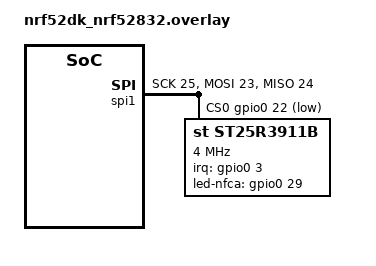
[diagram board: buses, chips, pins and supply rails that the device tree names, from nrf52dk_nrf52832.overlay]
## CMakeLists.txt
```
#
# Copyright (c) 2019 Nordic Semiconductor ASA
#
# SPDX-License-Identifier: LicenseRef-BSD-5-Clause-Nordic
#
cmake_minimum_required(VERSION 3.13.1)

find_package(Zephyr REQUIRED HINTS $ENV{ZEPHYR_BASE})
project(NONE)

target_sources(app PRIVATE
	src/main.c
	src/gw_prov_conf.c
	src/gw_nfc.c
	src/gw_display_shield.c
	src/gw_display_mcp23017.c)
target_include_directories(app PRIVATE include)
```

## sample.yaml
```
sample:
  name: Bluetooth Mesh Gateway
  description: Bluetooth Mesh Gateway
tests:
  samples.bluetooth.mesh.gateway:
    build_only: true
    build_on_all: true
    platform_whitelist: nrf52dk_nrf52832
    tags: bluetooth ci_build
```

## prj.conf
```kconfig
#
# Copyright (c) 2020 Nordic Semiconductor ASA
#
# SPDX-License-Identifier: LicenseRef-BSD-5-Clause-Nordic
#

# General configuration
CONFIG_MAIN_STACK_SIZE=4096
CONFIG_SYSTEM_WORKQUEUE_STACK_SIZE=2048
CONFIG_LOG_PROCESS_THREAD_STACK_SIZE=4096
CONFIG_LOG_BUFFER_SIZE=4096
CONFIG_HEAP_MEM_POOL_SIZE=256

CONFIG_POLL=y
CONFIG_ASSERT=y
CONFIG_ASSERT_LEVEL=2

CONFIG_FLASH=y
CONFIG_FLASH_MAP=y
CONFIG_NVS=y
CONFIG_SETTINGS=y
CONFIG_HWINFO=y
CONFIG_LOG=y
CONFIG_LOG_PRINTK=y
CONFIG_LOG_BACKEND_SHOW_COLOR=n

CONFIG_DK_LIBRARY=y
#CONFIG_BT_MESH_DK_PROV=y

# Display
CONFIG_I2C=y
CONFIG_I2C_0=y

# NFC
CONFIG_SPI=y
CONFIG_ST25R3911B_LIB=y
CONFIG_NFC_NDEF=y
CONFIG_NFC_NDEF_RECORD=y
CONFIG_NFC_NDEF_MSG=y
CONFIG_NFC_NDEF_PARSER=y
CONFIG_NFC_NDEF_LE_OOB_REC_PARSER=y
CONFIG_NFC_T2T_PARSER=y
CONFIG_NFC_T4T_HL_PROCEDURE=y
CONFIG_NFC_NDEF_CH_PARSER=y

# Bluetooth configuration
CONFIG_BT=y
CONFIG_BT_TINYCRYPT_ECC=y
#CONFIG_BT_DEBUG_LOG=y
CONFIG_BT_OBSERVER=y
CONFIG_BT_BROADCASTER=y

# Bluetooth Mesh configuration
CONFIG_BT_MESH=y
CONFIG_BT_MESH_SUBNET_COUNT=1
CONFIG_BT_MESH_APP_KEY_COUNT=1
CONFIG_BT_MESH_RX_SEG_MAX=15
CONFIG_BT_MESH_ADV_BUF_COUNT=10
CONFIG_BT_MESH_TX_SEG_MSG_COUNT=10
CONFIG_BT_MESH_MODEL_GROUP_COUNT=2
CONFIG_BT_MESH_LABEL_COUNT=0
CONFIG_BT_MESH_CFG_CLI=y
CONFIG_BT_MESH_HEALTH_CLI=y

CONFIG_BT_MESH_PROVISIONER=y
CONFIG_BT_MESH_CDB=y
CONFIG_BT_MESH_CDB_NODE_COUNT=3
CONFIG_BT_MESH_CDB_SUBNET_COUNT=3
CONFIG_BT_MESH_CDB_APP_KEY_COUNT=3

CONFIG_BT_SETTINGS=y
CONFIG_FLASH=y
CONFIG_FLASH_PAGE_LAYOUT=y
CONFIG_FLASH_MAP=y
CONFIG_NVS=y
CONFIG_SETTINGS=y
CONFIG_BT_MESH_RPL_STORE_TIMEOUT=600

#CONFIG_BT_MESH_DEBUG=y
#CONFIG_BT_MESH_DEBUG_SETTINGS=y
#CONFIG_BT_MESH_DEBUG_NET=y
#CONFIG_BT_MESH_DEBUG_MODEL=y
#CONFIG_BT_MESH_DEBUG_TRANS=y
#CONFIG_BT_MESH_DEBUG_ACCESS=y

#CONFIG_BT_MESH_LOW_POWER=y
#CONFIG_BT_MESH_DEBUG_PROV=y
#CONFIG_BT_MESH_DEBUG_LOW_POWER=y
#CONFIG_BT_MESH_DEBUG_BEACON=y
#CONFIG_BT_MESH_DEBUG_CRYPTO=y
#CONFIG_BT_MESH_DEBUG_ADV=y
```

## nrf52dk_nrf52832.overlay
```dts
&spi0 {
	status = "disabled";
};

&spi1 {
	compatible = "nordic,nrf-spi";
	status = "okay";
	sck-pin = <25>;
	mosi-pin = <23>;
	miso-pin = <24>;
	cs-gpios = <&gpio0 22 GPIO_ACTIVE_LOW>;

	st25r3911b@0 {
		label = "ST25R3911B";
		compatible = "st,st25r3911b";
		reg = <0>;
		spi-max-frequency = <4000000>;
		irq-gpios = <&gpio0 3 0>;
		led-nfca-gpios = <&gpio0 29 0>;
	};
};

&spi2 {
	status = "disabled";
};
```

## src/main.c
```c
/*
 * Copyright (c) 2020 Nordic Semiconductor ASA
 *
 * SPDX-License-Identifier: LicenseRef-BSD-5-Clause-Nordic
 */

#include <zephyr.h>
#include <bluetooth/bluetooth.h>
#include <bluetooth/mesh.h>
#include <settings/settings.h>
// #include <bluetooth/mesh/models.h>
// #include <bluetooth/mesh/dk_prov.h>
#include "gw_prov_conf.h"
#include "gw_nfc.h"
#include "gw_display_shield.h"

K_SEM_DEFINE(sem_gw_system_state, 0, 1);
K_SEM_DEFINE(sem_choose_room, 0, 1);

enum gw_system_states
{
	s_start = 0,
	s_idle,
	s_blink_dev,
	s_prov_conf_dev,
	s_nfc_start,
	s_nfc_stop,
};

// TODO: Unique node names
const struct room_info rooms[] = {
	[0] = { .name = "Living room    ", .group_addr = BASE_GROUP_ADDR },
	[1] = { .name = "Kitchen        ", .group_addr = BASE_GROUP_ADDR + 1 },
	[2] = { .name = "Bedroom        ", .group_addr = BASE_GROUP_ADDR + 2 },
	[3] = { .name = "Bathroom       ", .group_addr = BASE_GROUP_ADDR + 3 },
	[4] = { .name = "Hallway        ", .group_addr = BASE_GROUP_ADDR + 4 }
};

static int gw_system_state = s_start;
static bool take_sem = true;

static uint8_t curr_but_pressed;
static uint8_t nfc_uuid[16];
static bool uuid_from_nfc;
static bool update_unprov_devs;
static uint8_t chosen_dev;
static uint8_t room_iterator;
static bool room_chosen;

static struct k_delayed_work button_work;

static void button_work_handler(struct k_work *work)
{
	uint8_t button_state;

	button_state = display_read_buttons();

	if ((button_state & BUTTON_UP) && (curr_but_pressed != BUTTON_UP)) {
		printk("BUTTON UP\n");
		curr_but_pressed = BUTTON_UP;
	} else if (button_state & BUTTON_DOWN && (curr_but_pressed != BUTTON_DOWN)) {
		printk("BUTTON DOWN\n");
		curr_but_pressed = BUTTON_DOWN;
	} else if (button_state & BUTTON_LEFT && (curr_but_pressed != BUTTON_LEFT)) {
		printk("BUTTON LEFT\n");
		curr_but_pressed = BUTTON_LEFT;

		if (gw_system_state == s_start || gw_system_state == s_idle) {
			gw_system_state = s_nfc_start;
			k_sem_give(&sem_gw_system_state);
		} else if (gw_system_state == s_blink_dev) {
			if (!prov_link_active()) {
				if (chosen_dev > 0) {
					chosen_dev--;
					k_sem_give(&sem_gw_system_state);
				}
			}
		} else if (gw_system_state == s_prov_conf_dev) {
			if (room_iterator > 0) {
				room_iterator--;
				k_sem_give(&sem_choose_room);
			}
		}
	} else if (button_state & BUTTON_RIGHT && (curr_but_pressed != BUTTON_RIGHT)) {
		printk("BUTTON RIGHT\n");
		curr_but_pressed = BUTTON_RIGHT;

		if (gw_system_state == s_nfc_start) {
			gw_system_state = s_nfc_stop;
			k_sem_give(&sem_gw_system_state);
		} else if (gw_system_state == s_blink_dev) {
			if (!prov_link_active()) {
				if (chosen_dev < (get_unprov_dev_num() - 1)) {
					chosen_dev++;
					k_sem_give(&sem_gw_system_state);
				}
			}
		} else if (gw_system_state == s_prov_conf_dev) {
			if (room_iterator < (sizeof(rooms) / sizeof(rooms[0]) - 1)) {
				room_iterator++;
				k_sem_give(&sem_choose_room);
			}
		}
	} else if (button_state & BUTTON_SELECT && (curr_but_pressed != BUTTON_SELECT)) {
		printk("BUTTON SELECT\n");
		curr_but_pressed = BUTTON_SELECT;

		if (gw_system_state == s_start) {
			gw_system_state = s_idle;
			k_sem_give(&sem_gw_system_state);
		} else if (gw_system_state == s_idle) {
			if (get_unprov_dev_num() > 0) {
				gw_system_state = s_blink_dev;
				k_sem_give(&sem_gw_system_state);
			}
		} else if (gw_system_state == s_blink_dev) {
			if (!prov_link_active()) {
				gw_system_state = s_prov_conf_dev;
				k_sem_give(&sem_gw_system_state);
			}
		} else if (gw_system_state == s_prov_conf_dev) {
			room_chosen = true;
			k_sem_give(&sem_choose_room);
		}
	} else if (!button_state) {
		curr_but_pressed = 0;
	}

	k_delayed_work_submit(&button_work, K_MSEC(100));
}

static struct k_delayed_work unprov_devs_work;

static void unprov_devs_work_handler(struct k_work *work)
{
	uint8_t num;

	num = get_unprov_dev_num();

	if (update_unprov_devs) {
		display_set_cursor(0, 0);
		display_write_number(num);
	}

	k_delayed_work_submit(&unprov_devs_work, K_MSEC(100));
}

void nfc_rx(struct gw_nfc_rx_data data)
{
	if (data.length == 16 && gw_system_state == s_nfc_start) {
		memcpy(nfc_uuid, data.value, 16);
		uuid_from_nfc = true;

		gw_system_state = s_prov_conf_dev;
		k_sem_give(&sem_gw_system_state);
	}
}

struct gw_nfc_cb nfc_cb = { .rx = nfc_rx };

void main(void)
{
	int err;

	printk("Bluetooth Mesh Gateway initializing...\n");

	/* Initialize the Bluetooth Subsystem */
	err = bt_enable(NULL);
	if (err) {
		printk("Bluetooth init failed (err %d)\n", err);
		return;
	}

	printk("Bluetooth initialized\n");

	bt_ready();

	gw_nfc_register_cb(&nfc_cb);
	gw_nfc_init();

	display_shield_init();

	k_delayed_work_init(&button_work, button_work_handler);
	k_delayed_work_submit(&button_work, K_NO_WAIT);

	k_delayed_work_init(&unprov_devs_work, unprov_devs_work_handler);

	display_set_cursor(0, 0);
	display_write_string("BT Mesh Gateway");
	display_set_cursor(0, 1);
	display_write_string("Press SELECT");

	while (1) {
		if (take_sem) {
			k_sem_take(&sem_gw_system_state, K_FOREVER);
		}

		take_sem = true;

		if (gw_system_state == s_idle) {
			update_unprov_devs = false;

			display_clear();
			display_set_cursor(4, 0);
			display_write_string("unprov devs");
			display_set_cursor(0, 1);
			display_write_string("Press SELECT");
			update_unprov_devs = true;
			k_delayed_work_submit(&unprov_devs_work, K_NO_WAIT);

		} else if (gw_system_state == s_blink_dev) {
			update_unprov_devs = false;

			display_clear();
			display_set_cursor(4, 0);
			display_write_string("unprov devs");
			display_set_cursor(0, 1);
			display_write_string("Blinking dev ");
			display_write_number(chosen_dev);

			blink_device(chosen_dev);

			update_unprov_devs = true;
			k_delayed_work_submit(&unprov_devs_work, K_NO_WAIT);

		} else if (gw_system_state == s_prov_conf_dev) {
			k_delayed_work_cancel(&unprov_devs_work);
			update_unprov_devs = false;

			display_clear();
			display_set_cursor(0, 0);
			display_write_string("Provisioning...");

			if (uuid_from_nfc) {
				provision_device(0xff, nfc_uuid);
				gw_nfc_stop();
				uuid_from_nfc = false;
			} else {
				provision_device(chosen_dev, NULL);
			}

			struct model_info mod_inf = { .srv_count = 0, .cli_count = 0 };
			get_model_info(&mod_inf);
			room_iterator = 0;

			for (int i = 0; i < mod_inf.srv_count; i++) {
				room_chosen = false;
				display_clear();
				display_set_cursor(0, 0);
				display_write_string("Light ");
				display_write_number(i);
				while (!room_chosen)
				{
					display_set_cursor(0, 1);
					display_write_string(rooms[room_iterator].name);
					k_sem_take(&sem_choose_room, K_FOREVER);
				}

				configure_server(i, rooms[room_iterator].group_addr);
			}
			
			for (int i = 0; i < mod_inf.cli_count; i++) {
				room_chosen = false;
				display_clear();
				display_set_cursor(0, 0);
				display_write_string("Light Switch ");
				display_write_number(i);
				while (!room_chosen)
				{
					display_set_cursor(0, 1);
					display_write_string(rooms[room_iterator].name);
					k_sem_take(&sem_choose_room, K_FOREVER);
				}

				configure_client(i, rooms[room_iterator].group_addr);
			}

			gw_system_state = s_idle;
			take_sem = false;
		} else if (gw_system_state == s_nfc_start) {
			k_delayed_work_cancel(&unprov_devs_work);
			update_unprov_devs = false;
			
			display_clear();
			display_set_cursor(0, 0);
			display_write_string("Scanning NFC...");
			
			gw_nfc_start();
		} else if (gw_system_state == s_nfc_stop) {
			gw_nfc_stop();

			gw_system_state = s_idle;
			take_sem = false;
		}
	}
}
```

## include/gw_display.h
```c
/*!
 * @file Adafruit_RGBLCDShield.h
 */

#ifndef Adafruit_RGBLCDShield_h
#define Adafruit_RGBLCDShield_h

#include "Print.h"
#include <inttypes.h>
#include <utility/Adafruit_MCP23017.h>

// commands
#define LCD_CLEARDISPLAY 0x01 //!< Clear display, set cursor position to zero
#define LCD_RETURNHOME 0x02 //!< Set cursor position to zero
#define LCD_ENTRYMODESET 0x04 //!< Sets the entry mode
#define LCD_DISPLAYCONTROL                                                     \
	0x08 //!< Controls the display; allows you to do stuff like turn it on and off
#define LCD_CURSORSHIFT 0x10 //!< Lets you move the cursor
#define LCD_FUNCTIONSET 0x20 //!< Used to send the function set to the display
#define LCD_SETCGRAMADDR                                                       \
	0x40 //!< Used to set the CGRAM (character generator RAM)
#define LCD_SETDDRAMADDR 0x80 //!< Used to set the DDRAM (display data RAM)

// flags for display entry mode
#define LCD_ENTRYRIGHT 0x00 //!< Used to set text to flow from right to left
#define LCD_ENTRYLEFT 0x02 //!< Used to set text to flow from left to right
#define LCD_ENTRYSHIFTINCREMENT                                                \
	0x01 //!< Used to 'right justify' text from the cursor
#define LCD_ENTRYSHIFTDECREMENT                                                \
	0x00 //!< USed to 'left justify' text from the cursor

// flags for display on/off control
#define LCD_DISPLAYON 0x04 //!< Turns the display on
#define LCD_DISPLAYOFF 0x00 //!< Turns the display off
#define LCD_CURSORON 0x02 //!< Turns the cursor on
#define LCD_CURSOROFF 0x00 //!< Turns the cursor off
#define LCD_BLINKON 0x01 //!< Turns on the blinking cursor
#define LCD_BLINKOFF 0x00 //!< Turns off the blinking cursor

// flags for display/cursor shift
#define LCD_DISPLAYMOVE 0x08 //!< Flag for moving the display
#define LCD_CURSORMOVE 0x00 //!< Flag for moving the cursor
#define LCD_MOVERIGHT 0x04 //!< Flag for moving right
#define LCD_MOVELEFT 0x00 //!< Flag for moving left

// flags for function set
#define LCD_8BITMODE 0x10 //!< LCD 8 bit mode
#define LCD_4BITMODE 0x00 //!< LCD 4 bit mode
#define LCD_2LINE 0x08 //!< LCD 2 line mode
#define LCD_1LINE 0x00 //!< LCD 1 line mode
#define LCD_5x10DOTS 0x04 //!< 10 pixel high font mode
#define LCD_5x8DOTS 0x00 //!< 8 pixel high font mode

#define BUTTON_UP 0x08 //!< Up button
#define BUTTON_DOWN 0x04 //!< Down button
#define BUTTON_LEFT 0x10 //!< Left button
#define BUTTON_RIGHT 0x02 //!< Right button
#define BUTTON_SELECT 0x01 //!< Select button

#ifdef ARDUINO_ARCH_MEGAAVR
using namespace arduino; //!< MEGA AVR architecture uses the arduino namespace
#endif //!< but AVR arch does not

/*!
 * @brief Base class for RGB LCD shield
 */
class Adafruit_RGBLCDShield : public Print {
    public:
	Adafruit_RGBLCDShield();

	/*!
   * @brief RGB LCD shield constructor
   * @param fourbitmode Sets the mode of the display, either 4 bit or 8 bit
   * @param rs The reset data line
   * @param rw The read write pin
   * @param enable The enable data line
   * @param d0 The data line 0
   * @param d1 The data line 1
   * @param d2 The data line 2
   * @param d3 The data line 3
   * @param d4 The data line 4
   * @param d5 The data line 5
   * @param d6 The data line 6
   * @param d7 The data line 7
   */
	void init(uint8_t fourbitmode, uint8_t rs, uint8_t rw, uint8_t enable,
		  uint8_t d0, uint8_t d1, uint8_t d2, uint8_t d3, uint8_t d4,
		  uint8_t d5, uint8_t d6, uint8_t d7);

	/*!
   * @brief Starts I2C connection with display
   * @param cols Sets the number of columns
   * @param rows Sets the number of rows
   * @param charsize Sets the character size
   * @return Returns true if the connection was successful
   */
	void begin(uint8_t cols, uint8_t rows, uint8_t charsize = LCD_5x8DOTS);

	/*!
   * @brief High-level command to clear the display
   */
	void clear();
	/*!
   * @brief High-level command to set the cursor position to zero
   */
	void home();

	/*!
   * @brief High-level command to turn the display off
   */
	void noDisplay();
	/*!
   * @brief High-level command to turn the display on
   */
	void display();
	/*!
   * @brief High-level command to turn off the blinking cursor off
   */
	void noBlink();
	/*!
   * @brief High-level command to turn on the blinking cursor
   */
	void blink();
	/*!
   * @brief High-level command to turn the underline cursor off
   */
	void noCursor();
	/*!
   * @brief High-level command to turn the underline cursor on
   */
	void cursor();
	/*!
   * @brief High-level command to scroll display left without changing the RAM
   */
	void scrollDisplayLeft();
	/*!
   * @brief High-level command to scroll display right without changing the RAM
   */
	void scrollDisplayRight();
	/*!
   * @brief High-level command to make text flow right to left
   */
	void leftToRight();
	/*!
   * @brief High-level command to make text flow left to right
   */
	void rightToLeft();
	/*!
   * @brief High-level command to 'right justify' text from cursor
   */
	void autoscroll();
	/*!
   * @brief High-level command to 'left justify' text from cursor
   */
	void noAutoscroll();

	/*!
   * @brief High-level command to set the backlight, only if the LCD backpack is
   * used
   * @param status Status to set the backlight
   */
	void setBacklight(uint8_t status);

	/*!
   * @brief High-level command that creates custom characters in CGRAM
   * @param location Location in cgram to fill
   * @param charmap[] Character map to use
   */
	void createChar(uint8_t, uint8_t[]);
	/*!
   * @brief High-level command that sets the location of the cursor
   * @param col Column to put the cursor in
   * @param row Row to put the cursor in
   */
	void setCursor(uint8_t, uint8_t);
#if ARDUINO >= 100
	virtual size_t write(uint8_t);
#else
	/*!
   * @brief Mid-level command that sends data to the display
   * @param value Data to send to the display
   */
	virtual void write(uint8_t);
#endif
	/*!
   * @brief Sends command to display
   * @param value Command to send
   */
	void command(uint8_t);
	/*!
   * @brief reads the buttons from the shield
   * @return Returns what buttons have been pressed
   */
	uint8_t readButtons();

    private:
	void send(uint8_t, uint8_t);
	void write4bits(uint8_t);
	void write8bits(uint8_t);
	void pulseEnable();
	void _digitalWrite(uint8_t, uint8_t);
	void _pinMode(uint8_t, uint8_t);

	uint8_t _rs_pin; // LOW: command.  HIGH: character.
	uint8_t _rw_pin; // LOW: write to LCD.  HIGH: read from LCD.
	uint8_t _enable_pin; // activated by a HIGH pulse.
	uint8_t _data_pins[8];
	uint8_t _button_pins[5];
	uint8_t _displayfunction;
	uint8_t _displaycontrol;
	uint8_t _displaymode;

	uint8_t _initialized;

	uint8_t _numlines, _currline;

	uint8_t _i2cAddr;
	Adafruit_MCP23017 _i2c;
};

#endif
```

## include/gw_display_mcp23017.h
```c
/***************************************************
  This is a library for the MCP23017 i2c port expander

  These displays use I2C to communicate, 2 pins are required to
  interface
  Adafruit invests time and resources providing this open source code,
  please support Adafruit and open-source hardware by purchasing
  products from Adafruit!

  Written by Limor Fried/Ladyada for Adafruit Industries.
  BSD license, all text above must be included in any redistribution
 ****************************************************/

#ifndef GW_DISPLAY_MCP23017_H__
#define GW_DISPLAY_MCP23017_H__

#include <zephyr.h>

#define INPUT 0
#define OUTPUT 1
#define LOW 0
#define HIGH 1

#define MCP23017_ADDRESS 0x20

#define MCP23017_IODIRA 0x00
#define MCP23017_IPOLA 0x02
#define MCP23017_GPINTENA 0x04
#define MCP23017_DEFVALA 0x06
#define MCP23017_INTCONA 0x08
#define MCP23017_IOCONA 0x0A
#define MCP23017_GPPUA 0x0C
#define MCP23017_INTFA 0x0E
#define MCP23017_INTCAPA 0x10
#define MCP23017_GPIOA 0x12
#define MCP23017_OLATA 0x14

#define MCP23017_IODIRB 0x01
#define MCP23017_IPOLB 0x03
#define MCP23017_GPINTENB 0x05
#define MCP23017_DEFVALB 0x07
#define MCP23017_INTCONB 0x09
#define MCP23017_IOCONB 0x0B
#define MCP23017_GPPUB 0x0D
#define MCP23017_INTFB 0x0F
#define MCP23017_INTCAPB 0x11
#define MCP23017_GPIOB 0x13
#define MCP23017_OLATB 0x15

void mcp23017_init(void);

void mcp23017_pin_configure(uint8_t p, uint8_t d);

void mcp23017_write_pin(uint8_t p, uint8_t d);

void mcp23017_pull_up(uint8_t p, uint8_t d);

int mcp23017_read_pin(uint8_t p, uint8_t *ret);

void mcp23017_write_gpio_ab(uint16_t);

uint16_t mcp23017_read_gpio_ab();

#endif /* GW_DISPLAY_MCP23017_H__ */
```

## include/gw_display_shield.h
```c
#ifndef GW_DISPLAY_SHIELD_H__
#define GW_DISPLAY_SHIELD_H__

#include <zephyr.h>
#include "gw_display_mcp23017.h"

// commands
#define LCD_CLEARDISPLAY 0x01 //!< Clear display, set cursor position to zero
#define LCD_RETURNHOME 0x02 //!< Set cursor position to zero
#define LCD_ENTRYMODESET 0x04 //!< Sets the entry mode
#define LCD_DISPLAYCONTROL                                                     \
	0x08 //!< Controls the display; allows you to do stuff like turn it on and off
#define LCD_CURSORSHIFT 0x10 //!< Lets you move the cursor
#define LCD_FUNCTIONSET 0x20 //!< Used to send the function set to the display
#define LCD_SETCGRAMADDR                                                       \
	0x40 //!< Used to set the CGRAM (character generator RAM)
#define LCD_SETDDRAMADDR 0x80 //!< Used to set the DDRAM (display data RAM)

// flags for display entry mode
#define LCD_ENTRYRIGHT 0x00 //!< Used to set text to flow from right to left
#define LCD_ENTRYLEFT 0x02 //!< Used to set text to flow from left to right
#define LCD_ENTRYSHIFTINCREMENT                                                \
	0x01 //!< Used to 'right justify' text from the cursor
#define LCD_ENTRYSHIFTDECREMENT                                                \
	0x00 //!< USed to 'left justify' text from the cursor

// flags for display on/off control
#define LCD_DISPLAYON 0x04 //!< Turns the display on
#define LCD_DISPLAYOFF 0x00 //!< Turns the display off
#define LCD_CURSORON 0x02 //!< Turns the cursor on
#define LCD_CURSOROFF 0x00 //!< Turns the cursor off
#define LCD_BLINKON 0x01 //!< Turns on the blinking cursor
#define LCD_BLINKOFF 0x00 //!< Turns off the blinking cursor

// flags for display/cursor shift
#define LCD_DISPLAYMOVE 0x08 //!< Flag for moving the display
#define LCD_CURSORMOVE 0x00 //!< Flag for moving the cursor
#define LCD_MOVERIGHT 0x04 //!< Flag for moving right
#define LCD_MOVELEFT 0x00 //!< Flag for moving left

// flags for function set
#define LCD_8BITMODE 0x10 //!< LCD 8 bit mode
#define LCD_4BITMODE 0x00 //!< LCD 4 bit mode
#define LCD_2LINE 0x08 //!< LCD 2 line mode
#define LCD_1LINE 0x00 //!< LCD 1 line mode
#define LCD_5x10DOTS 0x04 //!< 10 pixel high font mode
#define LCD_5x8DOTS 0x00 //!< 8 pixel high font mode

#define BUTTON_UP 0x08 //!< Up button
#define BUTTON_DOWN 0x04 //!< Down button
#define BUTTON_LEFT 0x10 //!< Left button
#define BUTTON_RIGHT 0x02 //!< Right button
#define BUTTON_SELECT 0x01 //!< Select button

/*!
* @brief Init RGB LCD shield
*/
void display_shield_init(void);

/*!
* @brief Starts I2C connection with display
* @param cols Sets the number of columns
* @param rows Sets the number of rows
* @param charsize Sets the character size
* @return Returns true if the connection was successful
*/
void display_begin(uint8_t cols, uint8_t rows, uint8_t charsize);

/*!
* @brief High-level command to clear the display
*/
void display_clear(void);
/*!
* @brief High-level command to set the cursor position to zero
*/
void display_home(void);
/*!
* @brief High-level command to set the cursor position
* @param col Column
* @param row Row
*/
void display_set_cursor(uint8_t col, uint8_t row);
/*!
* @brief High-level command to turn the display off
*/
void display_off(void);
/*!
* @brief High-level command to turn the display on
*/
void display_on(void);
/*!
* @brief High-level command to turn off the blinking cursor off
*/
void display_blink_off(void);
/*!
* @brief High-level command to turn on the blinking cursor
*/
void display_blink_on(void);
/*!
* @brief High-level command to turn the underline cursor off
*/
void display_cursor_off(void);
/*!
* @brief High-level command to turn the underline cursor on
*/
void display_cursor_on(void);
/*!
* @brief High-level command to scroll display left without changing the RAM
*/
void display_scroll_display_left(void);
/*!
* @brief High-level command to scroll display right without changing the RAM
*/
void display_scroll_display_right(void);
/*!
* @brief High-level command to make text flow right to left
*/
void display_left_to_right(void);
/*!
* @brief High-level command to make text flow left to right
*/
void display_right_to_left(void);
/*!
* @brief High-level command to 'right justify' text from cursor
*/
void display_autoscroll(void);
/*!
* @brief High-level command to 'left justify' text from cursor
*/
void display_no_autoscroll(void);

/*!
* @brief High-level command to set the backlight, only if the LCD backpack is
* used
* @param status Status to set the backlight
*/
void display_set_backlight(uint8_t status);

/*!
* @brief High-level command that creates custom characters in CGRAM
* @param location Location in cgram to fill
* @param charmap[] Character map to use
*/
void display_create_char(uint8_t, uint8_t[]);

/*!
* @brief Write a character to the display
* @param character The character
*/
void display_write_char(char character);
/*!
* @brief Write a string to the display
* @param str The string
*/
void display_write_string(const char *str);
/*!
* @brief Write a number to the display
* @param num The number
*/
void display_write_number(uint16_t num);

/*!
* @brief Mid-level command that sends data to the display
* @param value Data to send to the display
*/
void display_write(uint8_t value);

/*!
* @brief Sends command to display
* @param value Command to send
*/
void command(uint8_t);

/*!
* @brief reads the buttons from the shield
* @return Returns what buttons have been pressed
*/
uint8_t display_read_buttons(void);

#endif /* GW_DISPLAY_SHIELD_H__ */
```

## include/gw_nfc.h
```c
/*
 * Copyright (c) 2020 Nordic Semiconductor ASA
 *
 * SPDX-License-Identifier: LicenseRef-BSD-5-Clause-Nordic
 */

#ifndef GW_NFC_H__
#define GW_NFC_H__

#include <bluetooth/bluetooth.h>

#ifdef __cplusplus
extern "C" {
#endif

struct gw_nfc_rx_data {
    const uint8_t *value;
    uint16_t length;
};

struct gw_nfc_cb {
	void (*rx)(struct gw_nfc_rx_data);
};

int gw_nfc_init(void);

void gw_nfc_register_cb(struct gw_nfc_cb *cb);

int gw_nfc_start(void);

int gw_nfc_stop(void);

#ifdef __cplusplus
}
#endif

#endif /* GW_NFC_H__ */
```

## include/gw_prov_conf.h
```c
/*
 * Copyright (c) 2020 Nordic Semiconductor ASA
 *
 * SPDX-License-Identifier: LicenseRef-BSD-5-Clause-Nordic
 */

#ifndef GW_PROVISIONING_H__
#define GW_PROVISIONING_H__

#include <bluetooth/bluetooth.h>

#ifdef __cplusplus
extern "C" {
#endif

#define BASE_GROUP_ADDR 0xc000
#define MAX_UNPROV_DEVICES 30
#define UNPROV_BEAC_TIMEOUT 30

struct unprov_device {
	uint8_t uuid[16];
	uint16_t addr;
	uint16_t time;
};

struct unprov_devices {
	uint8_t number;
	struct unprov_device dev[MAX_UNPROV_DEVICES];
};

struct model_info {
    uint8_t srv_count;
    uint8_t cli_count;
};

struct room_info {
	const char *name;
	uint16_t group_addr;
};

int bt_ready(void);

int provision_device(uint8_t dev_num, const uint8_t *uuid);

int get_model_info(struct model_info *mod_inf);

int configure_server(uint8_t elem_num, uint16_t group_addr);

int configure_client(uint8_t elem_num, uint16_t group_addr);

void blink_device(uint8_t dev_num);

uint8_t get_unprov_dev_num(void);

bool prov_link_active(void);

#ifdef __cplusplus
}
#endif

#endif /* GW_PROVISIONING_H__ */
```

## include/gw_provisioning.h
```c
/*
 * Copyright (c) 2020 Nordic Semiconductor ASA
 *
 * SPDX-License-Identifier: LicenseRef-BSD-5-Clause-Nordic
 */

#ifndef GW_PROVISIONING_H__
#define GW_PROVISIONING_H__

#include <bluetooth/bluetooth.h>

#ifdef __cplusplus
extern "C" {
#endif

int bt_ready(void);

int provision_devce_uuid(const uint8_t *uuid);

int provision_device(uint8_t prov_beac_timeout);

int configure_device(void);

void testing(void);

#ifdef __cplusplus
}
#endif

#endif /* GW_PROVISIONING_H__ */
```

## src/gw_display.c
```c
/*!
 * @file Adafruit_RGBLCDShield.cpp
 *
 * @mainpage Adafruit RGB LCD Shield Library
 *
 * @section intro_sec Introduction
 *
 * This is a library for the Adafruit RGB 16x2 LCD Shield
 * Pick one up at the Adafruit shop!
 * ---------> http://http://www.adafruit.com/products/714
 *
 * The shield uses I2C to communicate, 2 pins are required to
 * interface
 * Adafruit invests time and resources providing this open source code,
 * please support Adafruit and open-source hardware by purchasing
 * products from Adafruit!
 *
 * @section author Author
 *
 * Written by Limor Fried/Ladyada for Adafruit Industries.
 * @section license License
 *
 * BSD license, all text above must be included in any redistribution
 */

#include "Adafruit_RGBLCDShield.h"

#include <Wire.h>
#include <inttypes.h>
#include <stdio.h>
#include <string.h>
#ifdef __SAM3X8E__ // Arduino Due
#define WIRE Wire1
#else
#define WIRE Wire //!< Specifies which name to use for the I2C bus
#endif

#if ARDUINO >= 100
#include "Arduino.h"
#else
#include "WProgram.h"
#endif

// When the display powers up, it is configured as follows:
//
// 1. Display clear
// 2. Function set:
//    DL = 1; 8-bit interface data
//    N = 0; 1-line display
//    F = 0; 5x8 dot character font
// 3. Display on/off control:
//    D = 0; Display off
//    C = 0; Cursor off
//    B = 0; Blinking off
// 4. Entry mode set:
//    I/D = 1; Increment by 1
//    S = 0; No shift
//
// Note, however, that resetting the Arduino doesn't reset the LCD, so we
// can't assume that its in that state when a sketch starts (and the
// RGBLCDShield constructor is called).

Adafruit_RGBLCDShield::Adafruit_RGBLCDShield()
{
	_i2cAddr = 0;

	_displayfunction = LCD_4BITMODE | LCD_1LINE | LCD_5x8DOTS;

	// the I/O expander pinout
	_rs_pin = 15;
	_rw_pin = 14;
	_enable_pin = 13;
	_data_pins[0] = 12; // really d4
	_data_pins[1] = 11; // really d5
	_data_pins[2] = 10; // really d6
	_data_pins[3] = 9; // really d7

	_button_pins[0] = 0;
	_button_pins[1] = 1;
	_button_pins[2] = 2;
	_button_pins[3] = 3;
	_button_pins[4] = 4;
	// we can't begin() yet :(
}

void Adafruit_RGBLCDShield::init(uint8_t fourbitmode, uint8_t rs, uint8_t rw,
				 uint8_t enable, uint8_t d0, uint8_t d1,
				 uint8_t d2, uint8_t d3, uint8_t d4, uint8_t d5,
				 uint8_t d6, uint8_t d7)
{
	_rs_pin = rs;
	_rw_pin = rw;
	_enable_pin = enable;

	_data_pins[0] = d0;
	_data_pins[1] = d1;
	_data_pins[2] = d2;
	_data_pins[3] = d3;
	_data_pins[4] = d4;
	_data_pins[5] = d5;
	_data_pins[6] = d6;
	_data_pins[7] = d7;

	_i2cAddr = 255;

	_pinMode(_rs_pin, OUTPUT);
	// we can save 1 pin by not using RW. Indicate by passing 255 instead of pin#
	if (_rw_pin != 255) {
		_pinMode(_rw_pin, OUTPUT);
	}
	_pinMode(_enable_pin, OUTPUT);

	if (fourbitmode)
		_displayfunction = LCD_4BITMODE | LCD_1LINE | LCD_5x8DOTS;
	else
		_displayfunction = LCD_8BITMODE | LCD_1LINE | LCD_5x8DOTS;

	begin(16, 1);
}

void Adafruit_RGBLCDShield::begin(uint8_t cols, uint8_t lines, uint8_t dotsize)
{
	// check if i2c
	if (_i2cAddr != 255) {
		//_i2c.begin(_i2cAddr);
		WIRE.begin();
		_i2c.begin();

		_i2c.pinMode(8, OUTPUT);
		_i2c.pinMode(6, OUTPUT);
		_i2c.pinMode(7, OUTPUT);
		setBacklight(0x7);

		if (_rw_pin)
			_i2c.pinMode(_rw_pin, OUTPUT);

		_i2c.pinMode(_rs_pin, OUTPUT);
		_i2c.pinMode(_enable_pin, OUTPUT);
		for (uint8_t i = 0; i < 4; i++)
			_i2c.pinMode(_data_pins[i], OUTPUT);

		for (uint8_t i = 0; i < 5; i++) {
			_i2c.pinMode(_button_pins[i], INPUT);
			_i2c.pullUp(_button_pins[i], 1);
		}
	}

	if (lines > 1) {
		_displayfunction |= LCD_2LINE;
	}
	_numlines = lines;
	_currline = 0;

	// for some 1 line displays you can select a 10 pixel high font
	if ((dotsize != 0) && (lines == 1)) {
		_displayfunction |= LCD_5x10DOTS;
	}

	// SEE PAGE 45/46 FOR INITIALIZATION SPECIFICATION!
	// according to datasheet, we need at least 40ms after power rises above 2.7V
	// before sending commands. Arduino can turn on way befer 4.5V so we'll wait
	// 50
	delayMicroseconds(50000);
	// Now we pull both RS and R/W low to begin commands
	_digitalWrite(_rs_pin, LOW);
	_digitalWrite(_enable_pin, LOW);
	if (_rw_pin != 255) {
		_digitalWrite(_rw_pin, LOW);
	}

	// put the LCD into 4 bit or 8 bit mode
	if (!(_displayfunction & LCD_8BITMODE)) {
		// this is according to the hitachi HD44780 datasheet
		// figure 24, pg 46

		// we start in 8bit mode, try to set 4 bit mode
		write4bits(0x03);
		delayMicroseconds(4500); // wait min 4.1ms

		// second try
		write4bits(0x03);
		delayMicroseconds(4500); // wait min 4.1ms

		// third go!
		write4bits(0x03);
		delayMicroseconds(150);

		// finally, set to 8-bit interface
		write4bits(0x02);
	} else {
		// this is according to the hitachi HD44780 datasheet
		// page 45 figure 23

		// Send function set command sequence
		command(LCD_FUNCTIONSET | _displayfunction);
		delayMicroseconds(4500); // wait more than 4.1ms

		// second try
		command(LCD_FUNCTIONSET | _displayfunction);
		delayMicroseconds(150);

		// third go
		command(LCD_FUNCTIONSET | _displayfunction);
	}

	// finally, set # lines, font size, etc.
	command(LCD_FUNCTIONSET | _displayfunction);

	// turn the display on with no cursor or blinking default
	_displaycontrol = LCD_DISPLAYON | LCD_CURSOROFF | LCD_BLINKOFF;
	display();

	// clear it off
	clear();

	// Initialize to default text direction (for romance languages)
	_displaymode = LCD_ENTRYLEFT | LCD_ENTRYSHIFTDECREMENT;
	// set the entry mode
	command(LCD_ENTRYMODESET | _displaymode);
}

/********** high level commands, for the user! */
void Adafruit_RGBLCDShield::clear()
{
	command(LCD_CLEARDISPLAY); // clear display, set cursor position to zero
	delayMicroseconds(2000); // this command takes a long time!
}

void Adafruit_RGBLCDShield::home()
{
	command(LCD_RETURNHOME); // set cursor position to zero
	delayMicroseconds(2000); // this command takes a long time!
}

void Adafruit_RGBLCDShield::setCursor(uint8_t col, uint8_t row)
{
	int row_offsets[] = { 0x00, 0x40, 0x14, 0x54 };
	if (row > _numlines) {
		row = _numlines - 1; // we count rows starting w/0
	}

	command(LCD_SETDDRAMADDR | (col + row_offsets[row]));
}

// Turn the display on/off (quickly)
void Adafruit_RGBLCDShield::noDisplay()
{
	_displaycontrol &= ~LCD_DISPLAYON;
	command(LCD_DISPLAYCONTROL | _displaycontrol);
}
void Adafruit_RGBLCDShield::display()
{
	_displaycontrol |= LCD_DISPLAYON;
	command(LCD_DISPLAYCONTROL | _displaycontrol);
}

// Turns the underline cursor on/off
void Adafruit_RGBLCDShield::noCursor()
{
	_displaycontrol &= ~LCD_CURSORON;
	command(LCD_DISPLAYCONTROL | _displaycontrol);
}
void Adafruit_RGBLCDShield::cursor()
{
	_displaycontrol |= LCD_CURSORON;
	command(LCD_DISPLAYCONTROL | _displaycontrol);
}

// Turn on and off the blinking cursor
void Adafruit_RGBLCDShield::noBlink()
{
	_displaycontrol &= ~LCD_BLINKON;
	command(LCD_DISPLAYCONTROL | _displaycontrol);
}
void Adafruit_RGBLCDShield::blink()
{
	_displaycontrol |= LCD_BLINKON;
	command(LCD_DISPLAYCONTROL | _displaycontrol);
}

// These commands scroll the display without changing the RAM
void Adafruit_RGBLCDShield::scrollDisplayLeft(void)
{
	command(LCD_CURSORSHIFT | LCD_DISPLAYMOVE | LCD_MOVELEFT);
}
void Adafruit_RGBLCDShield::scrollDisplayRight(void)
{
	command(LCD_CURSORSHIFT | LCD_DISPLAYMOVE | LCD_MOVERIGHT);
}

// This is for text that flows Left to Right
void Adafruit_RGBLCDShield::leftToRight(void)
{
	_displaymode |= LCD_ENTRYLEFT;
	command(LCD_ENTRYMODESET | _displaymode);
}

// This is for text that flows Right to Left
void Adafruit_RGBLCDShield::rightToLeft(void)
{
	_displaymode &= ~LCD_ENTRYLEFT;
	command(LCD_ENTRYMODESET | _displaymode);
}

// This will 'right justify' text from the cursor
void Adafruit_RGBLCDShield::autoscroll(void)
{
	_displaymode |= LCD_ENTRYSHIFTINCREMENT;
	command(LCD_ENTRYMODESET | _displaymode);
}

// This will 'left justify' text from the cursor
void Adafruit_RGBLCDShield::noAutoscroll(void)
{
	_displaymode &= ~LCD_ENTRYSHIFTINCREMENT;
	command(LCD_ENTRYMODESET | _displaymode);
}

// Allows us to fill the first 8 CGRAM locations
// with custom characters
void Adafruit_RGBLCDShield::createChar(uint8_t location, uint8_t charmap[])
{
	location &= 0x7; // we only have 8 locations 0-7
	command(LCD_SETCGRAMADDR | (location << 3));
	for (int i = 0; i < 8; i++) {
		write(charmap[i]);
	}
	command(LCD_SETDDRAMADDR); // unfortunately resets the location to 0,0
}

/*********** mid level commands, for sending data/cmds */

inline void Adafruit_RGBLCDShield::command(uint8_t value)
{
	send(value, LOW);
}

#if ARDUINO >= 100
inline size_t Adafruit_RGBLCDShield::write(uint8_t value)
{
	send(value, HIGH);
	return 1;
}
#else
inline void Adafruit_RGBLCDShield::write(uint8_t value)
{
	send(value, HIGH);
}
#endif

/************ low level data pushing commands **********/

// little wrapper for i/o writes
void Adafruit_RGBLCDShield::_digitalWrite(uint8_t p, uint8_t d)
{
	if (_i2cAddr != 255) {
		// an i2c command
		_i2c.digitalWrite(p, d);
	} else {
		// straightup IO
		digitalWrite(p, d);
	}
}

// Allows to set the backlight, if the LCD backpack is used
void Adafruit_RGBLCDShield::setBacklight(uint8_t status)
{
	// check if i2c or SPI
	_i2c.digitalWrite(8, ~(status >> 2) & 0x1);
	_i2c.digitalWrite(7, ~(status >> 1) & 0x1);
	_i2c.digitalWrite(6, ~status & 0x1);
}

// little wrapper for i/o directions
void Adafruit_RGBLCDShield::_pinMode(uint8_t p, uint8_t d)
{
	if (_i2cAddr != 255) {
		// an i2c command
		_i2c.pinMode(p, d);
	} else {
		// straightup IO
		pinMode(p, d);
	}
}

// write either command or data, with automatic 4/8-bit selection
void Adafruit_RGBLCDShield::send(uint8_t value, uint8_t mode)
{
	_digitalWrite(_rs_pin, mode);

	// if there is a RW pin indicated, set it low to Write
	if (_rw_pin != 255) {
		_digitalWrite(_rw_pin, LOW);
	}

	if (_displayfunction & LCD_8BITMODE) {
		write8bits(value);
	} else {
		write4bits(value >> 4);
		write4bits(value);
	}
}

void Adafruit_RGBLCDShield::pulseEnable(void)
{
	_digitalWrite(_enable_pin, LOW);
	delayMicroseconds(1);
	_digitalWrite(_enable_pin, HIGH);
	delayMicroseconds(1); // enable pulse must be >450ns
	_digitalWrite(_enable_pin, LOW);
	delayMicroseconds(100); // commands need > 37us to settle
}

void Adafruit_RGBLCDShield::write4bits(uint8_t value)
{
	if (_i2cAddr != 255) {
		uint16_t out = 0;

		out = _i2c.readGPIOAB();

		// speed up for i2c since its sluggish
		for (int i = 0; i < 4; i++) {
			out &= ~(1 << _data_pins[i]);
			out |= ((value >> i) & 0x1) << _data_pins[i];
		}

		// make sure enable is low
		out &= ~(1 << _enable_pin);

		_i2c.writeGPIOAB(out);

		// pulse enable
		delayMicroseconds(1);
		out |= (1 << _enable_pin);
		_i2c.writeGPIOAB(out);
		delayMicroseconds(1);
		out &= ~(1 << _enable_pin);
		_i2c.writeGPIOAB(out);
		delayMicroseconds(100);

	} else {
		for (int i = 0; i < 4; i++) {
			_pinMode(_data_pins[i], OUTPUT);
			_digitalWrite(_data_pins[i], (value >> i) & 0x01);
		}
		pulseEnable();
	}
}

void Adafruit_RGBLCDShield::write8bits(uint8_t value)
{
	for (int i = 0; i < 8; i++) {
		_pinMode(_data_pins[i], OUTPUT);
		_digitalWrite(_data_pins[i], (value >> i) & 0x01);
	}

	pulseEnable();
}

uint8_t Adafruit_RGBLCDShield::readButtons(void)
{
	uint8_t reply = 0x1F;

	for (uint8_t i = 0; i < 5; i++) {
		reply &= ~((_i2c.digitalRead(_button_pins[i])) << i);
	}
	return reply;
}
```

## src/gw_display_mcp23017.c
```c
/***************************************************
  This is a library for the MCP23017 i2c port expander

  These displays use I2C to communicate, 2 pins are required to
  interface
  Adafruit invests time and resources providing this open source code,
  please support Adafruit and open-source hardware by purchasing
  products from Adafruit!

  Written by Limor Fried/Ladyada for Adafruit Industries.
  BSD license, all text above must be included in any redistribution
 ****************************************************/

#include <zephyr.h>
#include <drivers/i2c.h>
#include "gw_display_mcp23017.h"

struct device *i2c_dev;

void mcp23017_init(void)
{
	uint8_t reset_a_inputs[2] = { MCP23017_IODIRA, 0xFF };
	uint8_t reset_b_inputs[2] = { MCP23017_IODIRB, 0xFF };

	i2c_dev = device_get_binding(DT_PROP(DT_NODELABEL(i2c0), label));

	i2c_write(i2c_dev, reset_a_inputs, 2, MCP23017_ADDRESS);
	i2c_write(i2c_dev, reset_b_inputs, 2, MCP23017_ADDRESS);
}

void mcp23017_pin_configure(uint8_t p, uint8_t d)
{
	uint8_t iodir;
	uint8_t iodiraddr;
	uint8_t buf[2];

	if (p > 15) {
		return;
	}

	if (p < 8) {
		iodiraddr = MCP23017_IODIRA;
	} else {
		iodiraddr = MCP23017_IODIRB;
		p -= 8;
	}

	i2c_write_read(i2c_dev, MCP23017_ADDRESS, &iodiraddr, 1, &iodir, 1);

	if (d == INPUT) {
		iodir |= 1 << p;
	} else {
		iodir &= ~(1 << p);
	}

	buf[0] = iodiraddr;
	buf[1] = iodir;
	i2c_write(i2c_dev, buf, 2, MCP23017_ADDRESS);
}

uint16_t mcp23017_read_gpio_ab()
{
	uint8_t wr_buf = MCP23017_GPIOA;
	uint8_t rd_buf[2];

	i2c_write_read(i2c_dev, MCP23017_ADDRESS, &wr_buf, 1, rd_buf, 2);

	return rd_buf[1] <<= 8 | rd_buf[0];
}

void mcp23017_write_gpio_ab(uint16_t ba)
{
	uint8_t buf[3];

	buf[0] = MCP23017_GPIOA;
	buf[1] = (ba & 0xFF);
	buf[2] = (ba >> 8);
	i2c_write(i2c_dev, buf, 3, MCP23017_ADDRESS);
}

void mcp23017_write_pin(uint8_t p, uint8_t d)
{
	uint8_t gpio;
	uint8_t gpioaddr, olataddr;
	uint8_t buf[2];

	if (p > 15)
		return;

	if (p < 8) {
		olataddr = MCP23017_OLATA;
		gpioaddr = MCP23017_GPIOA;
	} else {
		olataddr = MCP23017_OLATB;
		gpioaddr = MCP23017_GPIOB;
		p -= 8;
	}

	/* Read the current GPIO output latches */
	i2c_write_read(i2c_dev, MCP23017_ADDRESS, &olataddr, 1, &gpio, 1);

	if (d == HIGH) {
		gpio |= 1 << p;
	} else {
		gpio &= ~(1 << p);
	}

	buf[0] = gpioaddr;
	buf[1] = gpio;
	i2c_write(i2c_dev, buf, 2, MCP23017_ADDRESS);
}

void mcp23017_pull_up(uint8_t p, uint8_t d)
{
	uint8_t gppu;
	uint8_t gppuaddr;
	uint8_t buf[2];

	if (p > 15)
		return;

	if (p < 8)
		gppuaddr = MCP23017_GPPUA;
	else {
		gppuaddr = MCP23017_GPPUB;
		p -= 8;
	}

	i2c_write_read(i2c_dev, MCP23017_ADDRESS, &gppuaddr, 1, &gppu, 1);

	if (d == HIGH) {
		gppu |= 1 << p;
	} else {
		gppu &= ~(1 << p);
	}

	buf[0] = gppuaddr;
	buf[1] = gppu;
	i2c_write(i2c_dev, buf, 2, MCP23017_ADDRESS);
}

void mcp23017_read_pin(uint8_t p, uint8_t *ret)
{
	uint8_t gpioaddr;
	uint8_t rd_buf = 0;

	if (p > 15)
		return 0;

	if (p < 8)
		gpioaddr = MCP23017_GPIOA;
	else {
		gpioaddr = MCP23017_GPIOB;
		p -= 8;
	}

	i2c_write_read(i2c_dev, MCP23017_ADDRESS, &gpioaddr, 1, &rd_buf, 1);

	*ret = (rd_buf >> p) & 0x1;
}
```

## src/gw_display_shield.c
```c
/*!
 * @file Adafruit_RGBLCDShield.cpp
 *
 * @mainpage Adafruit RGB LCD Shield Library
 *
 * @section intro_sec Introduction
 *
 * This is a library for the Adafruit RGB 16x2 LCD Shield
 * Pick one up at the Adafruit shop!
 * ---------> http://http://www.adafruit.com/products/714
 *
 * The shield uses I2C to communicate, 2 pins are required to
 * interface
 * Adafruit invests time and resources providing this open source code,
 * please support Adafruit and open-source hardware by purchasing
 * products from Adafruit!
 *
 * @section author Author
 *
 * Written by Limor Fried/Ladyada for Adafruit Industries.
 * @section license License
 *
 * BSD license, all text above must be included in any redistribution
 */

#include <zephyr.h>
#include <stdio.h>
#include "gw_display_shield.h"

static uint8_t _data_pins[4] = { 12, 11, 10, 9 };
static uint8_t _button_pins[5] = { 0, 1, 2, 3, 4 };
static uint8_t _enable_pin = 13; // activated by a HIGH pulse
static uint8_t _rw_pin = 14; // LOW: write to LCD  HIGH: read from LCD
static uint8_t _rs_pin = 15; // LOW: command  HIGH: character
static uint8_t _displayfunction = LCD_4BITMODE | LCD_2LINE | LCD_5x8DOTS;
static uint8_t _displaycontrol;
static uint8_t _displaymode;

static uint8_t _numlines = 2;

static void write4bits(uint8_t value)
{
	uint16_t out = 0;

	out = mcp23017_read_gpio_ab();

	/* Speed up for i2c since its sluggish */
	for (int i = 0; i < 4; i++) {
		out &= ~(1 << _data_pins[i]);
		out |= ((value >> i) & 0x1) << _data_pins[i];
	}

	/* Make sure enable is low */
	out &= ~(1 << _enable_pin);

	mcp23017_write_gpio_ab(out);

	/* Pulse enable */
	k_sleep(K_USEC(1));
	out |= (1 << _enable_pin);
	mcp23017_write_gpio_ab(out);
	k_sleep(K_USEC(1));
	out &= ~(1 << _enable_pin);
	mcp23017_write_gpio_ab(out);
	k_sleep(K_USEC(100));
}

static void send(uint8_t value, uint8_t mode)
{
	// mcp23017_write_pin(_rs_pin, mode); // *** THE PROBLEM IS THAT THIS NEVER GOES HIGH ***

	/* Hack */
	if (mode == LOW) {
		mcp23017_pin_configure(_rs_pin, OUTPUT);
	} else {
		mcp23017_pin_configure(_rs_pin, INPUT);
	}
	/* **** */

	mcp23017_write_pin(_rw_pin, LOW);

	write4bits(value >> 4);
	write4bits(value);
}

void display_shield_init(void)
{
	mcp23017_init();

	/* Controlling the 3 backlight RBG LEDs */
	mcp23017_pin_configure(8, OUTPUT);
	mcp23017_pin_configure(6, OUTPUT);
	mcp23017_pin_configure(7, OUTPUT);
	// mcp23017_write_pin(8, HIGH);
	mcp23017_write_pin(6, LOW);
	mcp23017_write_pin(7, LOW);
	// display_set_backlight(0x0); // NO NOT WORK PROPERLY FOR PIN B (8->)

	/* Configuring display controlling/writing pins */
	mcp23017_pin_configure(_rw_pin, OUTPUT);
	mcp23017_pin_configure(_rs_pin, OUTPUT);
	mcp23017_pin_configure(_enable_pin, OUTPUT);
	for (uint8_t i = 0; i < 4; i++) {
		mcp23017_pin_configure(_data_pins[i], OUTPUT);
	}

	/* Configuring button pins */
	for (uint8_t i = 0; i < 5; i++) {
		mcp23017_pin_configure(_button_pins[i], INPUT);
		mcp23017_pull_up(_button_pins[i], HIGH);
	}

	/* SEE PAGE 45/46 FOR INITIALIZATION SPECIFICATION!
	 * according to datasheet, we need at least 40ms after power rises above 2.7V
	 * before sending commands. Arduino can turn on way befer 4.5V so we'll wait
	 * 50
	 */
	k_sleep(K_USEC(50000));
	/* Pull both RS and R/W low to begin commands */
	// mcp23017_write_pin(_rs_pin, LOW); // Does not work properly
	mcp23017_write_pin(_enable_pin, LOW); // May not work properly
	mcp23017_write_pin(_rw_pin, LOW); // May not work properly

	/* Put the LCD into 4 bit according to the hitachi HD44780 datasheet figure 24, pg 46 */

	/* Start in 8bit mode, try to set 4 bit mode */
	write4bits(0x03);
	k_sleep(K_USEC(4500)); // wait min 4.1ms

	/* Second try */
	write4bits(0x03);
	k_sleep(K_USEC(4500)); // wait min 4.1ms

	/* Third go */
	write4bits(0x03);
	k_sleep(K_USEC(150));

	/* Finally, set to 8-bit interface */
	write4bits(0x02);

	/* Set # lines, font size, etc. */
	command(LCD_FUNCTIONSET | _displayfunction);

	/* Turn the display on with no cursor or blinking default */
	_displaycontrol = LCD_DISPLAYON | LCD_CURSOROFF | LCD_BLINKOFF;
	display_on();

	/* Clear it off */
	display_clear();

	/* Initialize to default text direction (for romance languages) */
	_displaymode = LCD_ENTRYLEFT | LCD_ENTRYSHIFTDECREMENT;
	/* Set the entry mode */
	command(LCD_ENTRYMODESET | _displaymode);
}

void display_clear(void)
{
	command(LCD_CLEARDISPLAY);
	/* Clearing display takes long time */
	k_sleep(K_USEC(2000));
}

void display_home(void)
{
	command(LCD_RETURNHOME);
	/* Returning home takes long time */
	k_sleep(K_USEC(2000));
}

void display_set_cursor(uint8_t col, uint8_t row)
{
	int row_offsets[] = { 0x00, 0x40, 0x14, 0x54 };
	if (row > _numlines) {
		row = _numlines - 1;
	}

	command(LCD_SETDDRAMADDR | (col + row_offsets[row]));
}

void display_off(void)
{
	_displaycontrol &= ~LCD_DISPLAYON;
	command(LCD_DISPLAYCONTROL | _displaycontrol);
}
void display_on(void)
{
	_displaycontrol |= LCD_DISPLAYON;
	command(LCD_DISPLAYCONTROL | _displaycontrol);
}

void display_cursor_off(void)
{
	_displaycontrol &= ~LCD_CURSORON;
	command(LCD_DISPLAYCONTROL | _displaycontrol);
}
void display_cursor_on(void)
{
	_displaycontrol |= LCD_CURSORON;
	command(LCD_DISPLAYCONTROL | _displaycontrol);
}

/* Turn on and off blinking cursor */
void display_blink_off(void)
{
	_displaycontrol &= ~LCD_BLINKON;
	command(LCD_DISPLAYCONTROL | _displaycontrol);
}
void display_blink_on(void)
{
	_displaycontrol |= LCD_BLINKON;
	command(LCD_DISPLAYCONTROL | _displaycontrol);
}

/* These commands scroll the display without changing the RAM */
void display_scroll_display_left(void)
{
	command(LCD_CURSORSHIFT | LCD_DISPLAYMOVE | LCD_MOVELEFT);
}
void display_scroll_display_right(void)
{
	command(LCD_CURSORSHIFT | LCD_DISPLAYMOVE | LCD_MOVERIGHT);
}

/* This is for text that flows Left to Right */
void display_left_to_right(void)
{
	_displaymode |= LCD_ENTRYLEFT;
	command(LCD_ENTRYMODESET | _displaymode);
}

/* This is for text that flows Right to Left */
void display_right_to_left(void)
{
	_displaymode &= ~LCD_ENTRYLEFT;
	command(LCD_ENTRYMODESET | _displaymode);
}

/* This will 'right justify' text from the cursor */
void display_autoscroll(void)
{
	_displaymode |= LCD_ENTRYSHIFTINCREMENT;
	command(LCD_ENTRYMODESET | _displaymode);
}

/* This will 'left justify' text from the cursor */
void display_no_autoscroll(void)
{
	_displaymode &= ~LCD_ENTRYSHIFTINCREMENT;
	command(LCD_ENTRYMODESET | _displaymode);
}

/* Fill the first 8 CGRAM locations with custom characters */
void display_create_char(uint8_t location, uint8_t charmap[])
{
	location &= 0x7; // we only have 8 locations 0-7
	command(LCD_SETCGRAMADDR | (location << 3));
	for (int i = 0; i < 8; i++) {
		display_write(charmap[i]);
	}
	/* Unfortunately resets the location to 0,0 */
	command(LCD_SETDDRAMADDR);
}

/* Write a character to the display */
void display_write_char(char character)
{
	display_write(character);
}

/* Write a string to the display */
void display_write_string(const char *str)
{
	unsigned char i = 0;

	while (str[i] != '\0') {
		display_write(str[i++]);
	}
}

/* Uses potentially 3 character slots */
void display_write_number(uint16_t num)
{
	if (num > 999) {
		printk("Number larger than 3 digits\n");
		return;
	}

	char string[3];

	sprintf(string, "%d", num);

	display_write_char(string[0]);

	if (num > 9) {
		display_write_char(string[1]);
	}

	if (num > 99) {
		display_write_char(string[2]);
	}
}

void command(uint8_t value)
{
	send(value, LOW);
}

void display_write(uint8_t value)
{
	send(value, HIGH);
}

/* Allows to set the backlight, if the LCD backpack is used */
void display_set_backlight(uint8_t status)
{
	mcp23017_write_pin(
		8, ~(status >>
		     2) & 0x1); // ******** THIS DOES NOT WORK PROPERLY ********
	mcp23017_write_pin(7, ~(status >> 1) & 0x1);
	mcp23017_write_pin(6, ~status & 0x1);
}

uint8_t display_read_buttons(void)
{
	uint8_t ret;
	uint8_t reply = 0;

	for (uint8_t i = 0; i < 5; i++) {
		mcp23017_read_pin(_button_pins[i], &ret);
		reply |= (ret << i);
		reply ^= (1 << i);
	}

	return reply;
}
```
